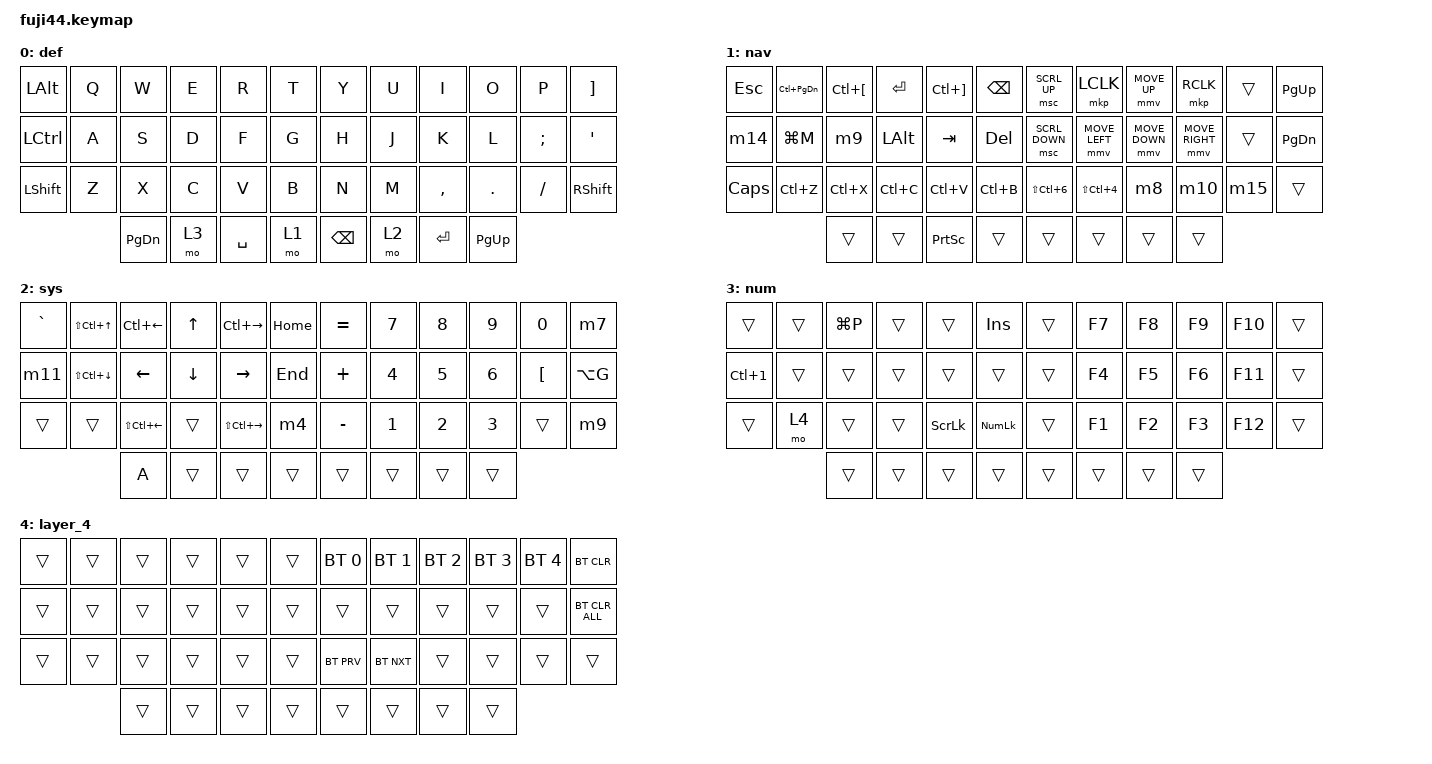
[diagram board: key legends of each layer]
/*
 * Copyright (c) 2020 The ZMK Contributors
 *
 * SPDX-License-Identifier: MIT
 */

#include <behaviors.dtsi>
#include <dt-bindings/zmk/bt.h>
#include <dt-bindings/zmk/keys.h>
#include <dt-bindings/zmk/pointing.h>

/ {
    combos {
        compatible = "zmk,combos";

        combo_esc {
            timeout-ms = <50>;
            key-positions = <0 1>;
            bindings = <&kp ESC>;
        };
    };

    behaviors {
        ss_hs_modmorph: ss_hs_modmorph {
            compatible = "zmk,behavior-mod-morph";
            label = "SS_HS_MODMORPH";
            bindings = <&kp M>, <&kp RIGHT_BRACKET>;

            #binding-cells = <0>;
            mods = <(MOD_LSFT|MOD_RSFT)>;
        };

        kh_hs_tapdance: kh_hs_tapdance {
            compatible = "zmk,behavior-tap-dance";
            label = "KH_HS_TAPDANCE";
            #binding-cells = <0>;
            tapping-term-ms = <200>;
            bindings = <&kp LEFT_BRACKET>, <&kp RIGHT_BRACKET>;
        };

        hrm: hrm {
            compatible = "zmk,behavior-hold-tap";
            #binding-cells = <2>;
            flavor = "tap-preferred";
            tapping-term-ms = <200>;
            quick-tap-ms = <200>;
            require-prior-idle-ms = <125>;
            bindings = <&kp>, <&kp>;
        };

        mouse_key_press: mouse_key_press {
            compatible = "zmk,behavior-mouse-key-press";
            label = "MOUSE_KEY_PRESS";
            #binding-cells = <1>;
        };

        sensor_rotate: sensor_rotate {
            compatible = "zmk,behavior-sensor-rotate";
            label = "SENSOR_ROTATE";
            #sensor-binding-cells = <0>;
            bindings = <&none>, <&none>;
        };
    };

    macros {
        m7: m7 {
            compatible = "zmk,behavior-macro";
            #binding-cells = <0>;
            bindings = <&kp LS(LC(UP)) &kp LA(T)>;
            label = "M7";
        };

        m9: m9 {
            compatible = "zmk,behavior-macro";
            #binding-cells = <0>;
            bindings = <&kt LALT &kp KP_NUMBER_4 &kp KP_NUMBER_4 &kt LEFT_ALT>;
            label = "M9";
        };

        m16: m16 {
            compatible = "zmk,behavior-macro";
            #binding-cells = <0>;
            bindings = <&kt LEFT_WIN &kp P &kt LEFT_WIN>;
            label = "M16";
        };

        m4: m4 {
            compatible = "zmk,behavior-macro";
            #binding-cells = <0>;
            bindings = <&kt LEFT_CONTROL &kp B &kp U &kt LEFT_CONTROL>;
            label = "M4";
        };

        m10: m10 {
            compatible = "zmk,behavior-macro";
            #binding-cells = <0>;
            bindings = <&kt LALT &kp KP_NUMBER_4 &kp KP_NUMBER_7 &kt LEFT_ALT>;
            label = "M10";
        };

        m11: m11 {
            compatible = "zmk,behavior-macro";
            #binding-cells = <0>;
            bindings = <&kt LALT &kp KP_NUMBER_1 &kp KP_NUMBER_2 &kp KP_NUMBER_6 &kt LEFT_ALT>;
            label = "M11";
        };

        m14: m14 {
            compatible = "zmk,behavior-macro";
            #binding-cells = <0>;
            bindings = <&kp LC(C) &kp LA(TAB) &kp LEFT_SHIFT &kp LEFT_SHIFT &kp RCTRL &kp RCTRL &kp LEFT_SHIFT &kp LEFT_SHIFT &kp RCTRL &kp RCTRL &kp LEFT_SHIFT &kp LEFT_SHIFT &kp LEFT_SHIFT &kp LEFT_CONTROL &kp LEFT_CONTROL &kp LEFT_SHIFT &kp LC(F) &kp LEFT_SHIFT &kp LEFT_SHIFT &kp LEFT_SHIFT &kp LEFT_CONTROL &kp LEFT_CONTROL &kp LEFT_SHIFT &kp LC(V)>;
            label = "M14";
        };

        m15: m15 {
            compatible = "zmk,behavior-macro";
            #binding-cells = <0>;
            bindings = <&kt LALT &kp KP_NUMBER_6 &kp KP_NUMBER_2 &kt LEFT_ALT>;
            label = "M15";
        };

        m8: m8 {
            compatible = "zmk,behavior-macro";
            #binding-cells = <0>;
            bindings = <&kt LALT &kp KP_NUMBER_3 &kp KP_NUMBER_5 &kt LEFT_ALT>;
            label = "M8";
        };
    };

    keymap {
        compatible = "zmk,keymap";

        def {
            bindings = <
&kp LALT   &kp Q  &kp W          &kp E  &kp R      &kp T    &kp Y     &kp U  &kp I      &kp O        &kp P     &kp RBKT
&kp LCTRL  &kp A  &kp S          &kp D  &kp F      &kp G    &kp H     &kp J  &kp K      &kp L        &kp SEMI  &kp SQT
&kp LSHFT  &kp Z  &kp X          &kp C  &kp V      &kp B    &kp N     &kp M  &kp COMMA  &kp DOT      &kp FSLH  &kp RSHFT
                  &kp PAGE_DOWN  &mo 3  &kp SPACE  &mo 1    &kp BSPC  &mo 2  &kp ENTER  &kp PAGE_UP
            >;
        };

        nav {
            bindings = <
&kp ESC   &kp LC(PAGE_DOWN)  &kp LC(LBKT)  &kp RET    &kp LC(RBKT)     &kp BSPC     &msc SCRL_UP          &mkp LCLK             &mmv MOVE_UP    &mkp RCLK        &trans  &kp PG_UP
&m14      &kp LG(M)          &m9           &kp LALT   &kp TAB          &kp DEL      &msc SCRL_DOWN        &mmv MOVE_LEFT        &mmv MOVE_DOWN  &mmv MOVE_RIGHT  &trans  &kp PAGE_DOWN
&kp CAPS  &kp LC(Z)          &kp LC(X)     &kp LC(C)  &kp LC(V)        &kp LC(B)    &kp LS(LC(NUMBER_6))  &kp LS(LC(NUMBER_4))  &m8             &m10             &m15    &trans
                             &trans        &trans     &kp PRINTSCREEN  &trans       &trans                &trans                &trans          &trans
            >;
        };

        sys {
            bindings = <
&kp GRAVE  &kp LS(LC(UP))    &kp LC(LEFT_ARROW)  &kp UP    &kp LC(RIGHT_ARROW)  &kp HOME    &kp EQUAL  &kp N7  &kp N8  &kp N9  &kp N0    &m7
&m11       &kp LS(LC(DOWN))  &kp LEFT            &kp DOWN  &kp RIGHT            &kp END     &kp PLUS   &kp N4  &kp N5  &kp N6  &kp LBKT  &kp LA(G)
&trans     &trans            &kp LS(LC(LEFT))    &trans    &kp LS(LC(RIGHT))    &m4         &kp MINUS  &kp N1  &kp N2  &kp N3  &trans    &m9
                             &kp A               &trans    &trans               &trans      &trans     &trans  &trans  &trans
            >;
        };

        num {
            bindings = <
&trans            &trans  &kp LG(P)  &trans  &trans          &kp INS           &trans  &kp F7  &kp F8  &kp F9  &kp F10  &trans
&kp LC(NUMBER_1)  &trans  &trans     &trans  &trans          &trans            &trans  &kp F4  &kp F5  &kp F6  &kp F11  &trans
&trans            &mo 4   &trans     &trans  &kp SCROLLLOCK  &kp KP_NUMLOCK    &trans  &kp F1  &kp F2  &kp F3  &kp F12  &trans
                          &trans     &trans  &trans          &trans            &trans  &trans  &trans  &trans
            >;
        };

        layer_4 {
            bindings = <
&trans  &trans  &trans  &trans  &trans  &trans    &bt BT_SEL 0  &bt BT_SEL 1  &bt BT_SEL 2  &bt BT_SEL 3  &bt BT_SEL 4  &bt BT_CLR
&trans  &trans  &trans  &trans  &trans  &trans    &trans        &trans        &trans        &trans        &trans        &bt BT_CLR_ALL
&trans  &trans  &trans  &trans  &trans  &trans    &bt BT_PRV    &bt BT_NXT    &trans        &trans        &trans        &trans
                &trans  &trans  &trans  &trans    &trans        &trans        &trans        &trans
            >;
        };
    };
};
